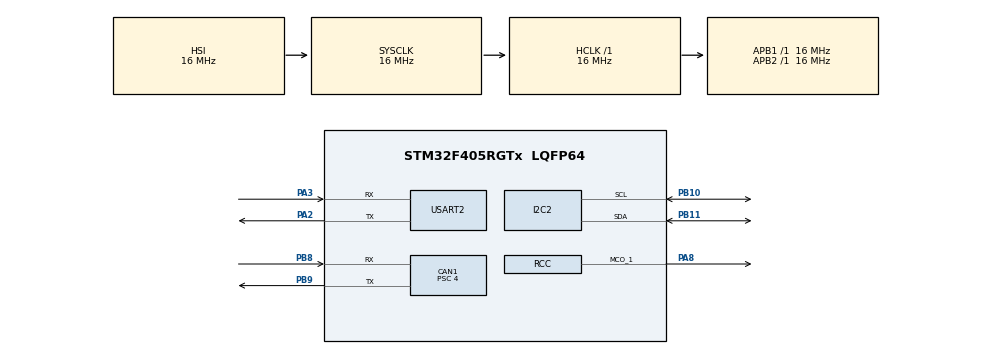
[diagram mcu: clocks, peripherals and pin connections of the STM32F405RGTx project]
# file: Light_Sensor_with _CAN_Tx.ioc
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CAN1.BS1=CAN_BS1_12TQ
CAN1.BS2=CAN_BS2_3TQ
CAN1.CalculateBaudRate=250000
CAN1.CalculateTimeBit=4000
CAN1.CalculateTimeQuantum=250.0
CAN1.NART=ENABLE
CAN1.Prescaler=4
Mcu.Family=STM32F4
Mcu.Name=STM32F405RGTx
Mcu.Package=LQFP64
NVIC.CAN1_RX0_IRQn=true\:0\:0\:false\:false\:true\:true\:true\:true
NVIC.PriorityGroup=NVIC_PRIORITYGROUP_4
PA13.Mode=Serial_Wire
PA13.Signal=SYS_JTMS-SWDIO
PA14.Mode=Serial_Wire
PA14.Signal=SYS_JTCK-SWCLK
PA2.Mode=Asynchronous
PA2.Signal=USART2_TX
PA3.Mode=Asynchronous
PA3.Signal=USART2_RX
PA8.Mode=Clock-out-1
PA8.Signal=RCC_MCO_1
PB10.Mode=I2C
PB10.Signal=I2C2_SCL
PB11.Mode=I2C
PB11.Signal=I2C2_SDA
PB8.Mode=CAN_Activate
PB8.Signal=CAN1_RX
PB9.Mode=CAN_Activate
PB9.Signal=CAN1_TX
PH0-OSC_IN.Mode=HSE-External-Oscillator
PH0-OSC_IN.Signal=RCC_OSC_IN
PH1-OSC_OUT.Mode=HSE-External-Oscillator
PH1-OSC_OUT.Signal=RCC_OSC_OUT
ProjectManager.HeapSize=0x200
ProjectManager.StackSize=0x400
ProjectManager.TargetToolchain=STM32CubeIDE
RCC.AHBFreq_Value=16000000
RCC.APB1Freq_Value=16000000
RCC.APB2Freq_Value=16000000
RCC.CortexFreq_Value=16000000
RCC.HSE_VALUE=25000000
RCC.HSI_VALUE=16000000
RCC.LSE_VALUE=32768
RCC.SYSCLKFreq_VALUE=16000000
RCC.VCOOutputFreq_Value=192000000
USART2.VirtualMode=VM_ASYNC
board=custom

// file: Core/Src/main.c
/* USER CODE BEGIN Header */
/**
  ******************************************************************************
  * @file           : main.c
  * @brief          : Main program body
  ******************************************************************************
  * @attention
  *
  * Copyright (c) 2026 STMicroelectronics.
  * All rights reserved.
  *
  * This software is licensed under terms that can be found in the LICENSE file
  * in the root directory of this software component.
  * If no LICENSE file comes with this software, it is provided AS-IS.
  *
  ******************************************************************************
  */
/* USER CODE END Header */
#include "main.h"

/* USER CODE BEGIN Includes */
#include<string.h>
#include<stdio.h>
/* USER CODE END Includes */

/* USER CODE BEGIN PD */
#define SLAVE_ADDR (0x23<<1)
CAN_TxHeaderTypeDef TxHeader;
CAN_RxHeaderTypeDef RxHeader;
uint8_t TxData[8];
uint8_t RxData[8];
uint32_t TxMailbox;
/* USER CODE END PD */

CAN_HandleTypeDef hcan1;

I2C_HandleTypeDef hi2c2;

UART_HandleTypeDef huart2;

void SystemClock_Config(void);
static void MX_GPIO_Init(void);
static void MX_CAN1_Init(void);
static void MX_I2C2_Init(void);
static void MX_USART2_UART_Init(void);
/* USER CODE BEGIN PFP */
void Light_sensor_init(void);
void CAN_Send_Message(uint32_t canId, uint8_t *data, uint8_t length);
void CAN_MSG_Transmit(void);
/* USER CODE END PFP */

/* USER CODE BEGIN 0 */
uint8_t rx[2],cmd;
uint16_t raw;
float lux;
uint8_t data[2]={1,0};
/* USER CODE END 0 */

int main(void)
{

  /* MCU Configuration--------------------------------------------------------*/

  /* Reset of all peripherals, Initializes the Flash interface and the Systick. */
  HAL_Init();

  /* Configure the system clock */
  SystemClock_Config();

  /* Initialize all configured peripherals */
  MX_GPIO_Init();
  MX_CAN1_Init();
  MX_I2C2_Init();
  MX_USART2_UART_Init();
  /* USER CODE BEGIN 2 */
  Light_sensor_init();
  HAL_CAN_Start(&hcan1);
  HAL_CAN_ActivateNotification(&hcan1,CAN_IT_RX_FIFO0_MSG_PENDING);
  /* USER CODE END 2 */

  /* Infinite loop */
  while (1)
  {
	  HAL_I2C_Master_Receive(&hi2c2, SLAVE_ADDR, rx, 2, HAL_MAX_DELAY);
	  raw= (rx[0]<<8)|rx[1];
	  lux=raw/1.2f;

	  CAN_MSG_Transmit();
	  HAL_Delay(3000);
  }
}

void SystemClock_Config(void)
{
  RCC_OscInitTypeDef RCC_OscInitStruct = {0};
  RCC_ClkInitTypeDef RCC_ClkInitStruct = {0};

  /** Configure the main internal regulator output voltage
  */
  __HAL_RCC_PWR_CLK_ENABLE();
  __HAL_PWR_VOLTAGESCALING_CONFIG(PWR_REGULATOR_VOLTAGE_SCALE1);

  /** Initializes the RCC Oscillators according to the specified parameters
  * in the RCC_OscInitTypeDef structure.
  */
  RCC_OscInitStruct.OscillatorType = RCC_OSCILLATORTYPE_HSI;
  RCC_OscInitStruct.HSIState = RCC_HSI_ON;
  RCC_OscInitStruct.HSICalibrationValue = RCC_HSICALIBRATION_DEFAULT;
  RCC_OscInitStruct.PLL.PLLState = RCC_PLL_NONE;
  if (HAL_RCC_OscConfig(&RCC_OscInitStruct) != HAL_OK)
  {
    Error_Handler();
  }

  /** Initializes the CPU, AHB and APB buses clocks
  */
  RCC_ClkInitStruct.ClockType = RCC_CLOCKTYPE_HCLK|RCC_CLOCKTYPE_SYSCLK
                              |RCC_CLOCKTYPE_PCLK1|RCC_CLOCKTYPE_PCLK2;
  RCC_ClkInitStruct.SYSCLKSource = RCC_SYSCLKSOURCE_HSI;
  RCC_ClkInitStruct.AHBCLKDivider = RCC_SYSCLK_DIV1;
  RCC_ClkInitStruct.APB1CLKDivider = RCC_HCLK_DIV1;
  RCC_ClkInitStruct.APB2CLKDivider = RCC_HCLK_DIV1;

  if (HAL_RCC_ClockConfig(&RCC_ClkInitStruct, FLASH_LATENCY_0) != HAL_OK)
  {
    Error_Handler();
  }
  HAL_RCC_MCOConfig(RCC_MCO1, RCC_MCO1SOURCE_HSI, RCC_MCODIV_1);
}

static void MX_CAN1_Init(void)
{

  hcan1.Instance = CAN1;
  hcan1.Init.Prescaler = 4;
  hcan1.Init.Mode = CAN_MODE_NORMAL;
  hcan1.Init.SyncJumpWidth = CAN_SJW_1TQ;
  hcan1.Init.TimeSeg1 = CAN_BS1_12TQ;
  hcan1.Init.TimeSeg2 = CAN_BS2_3TQ;
  hcan1.Init.TimeTriggeredMode = DISABLE;
  hcan1.Init.AutoBusOff = DISABLE;
  hcan1.Init.AutoWakeUp = DISABLE;
  hcan1.Init.AutoRetransmission = ENABLE;
  hcan1.Init.ReceiveFifoLocked = DISABLE;
  hcan1.Init.TransmitFifoPriority = DISABLE;
  if (HAL_CAN_Init(&hcan1) != HAL_OK)
  {
    Error_Handler();
  }
  /* USER CODE BEGIN CAN1_Init 2 */
  CAN_FilterTypeDef canfilterconfig;

      canfilterconfig.FilterActivation = CAN_FILTER_ENABLE;
      canfilterconfig.FilterBank = 0;
      canfilterconfig.FilterFIFOAssignment = CAN_FILTER_FIFO0;
      canfilterconfig.FilterIdHigh = 0x0000;
      canfilterconfig.FilterIdLow = 0x0000;
      canfilterconfig.FilterMaskIdHigh = 0x0000;
      canfilterconfig.FilterMaskIdLow = 0x0000;
      canfilterconfig.FilterMode = CAN_FILTERMODE_IDMASK;
      canfilterconfig.FilterScale = CAN_FILTERSCALE_32BIT;
      canfilterconfig.SlaveStartFilterBank = 0;

      if (HAL_CAN_ConfigFilter(&hcan1, &canfilterconfig) != HAL_OK)
       {
         Error_Handler();
       }
  /* USER CODE END CAN1_Init 2 */

}

static void MX_I2C2_Init(void)
{

  hi2c2.Instance = I2C2;
  hi2c2.Init.ClockSpeed = 100000;
  hi2c2.Init.DutyCycle = I2C_DUTYCYCLE_2;
  hi2c2.Init.OwnAddress1 = 0;
  hi2c2.Init.AddressingMode = I2C_ADDRESSINGMODE_7BIT;
  hi2c2.Init.DualAddressMode = I2C_DUALADDRESS_DISABLE;
  hi2c2.Init.OwnAddress2 = 0;
  hi2c2.Init.GeneralCallMode = I2C_GENERALCALL_DISABLE;
  hi2c2.Init.NoStretchMode = I2C_NOSTRETCH_DISABLE;
  if (HAL_I2C_Init(&hi2c2) != HAL_OK)
  {
    Error_Handler();
  }

}

static void MX_USART2_UART_Init(void)
{

  huart2.Instance = USART2;
  huart2.Init.BaudRate = 115200;
  huart2.Init.WordLength = UART_WORDLENGTH_8B;
  huart2.Init.StopBits = UART_STOPBITS_1;
  huart2.Init.Parity = UART_PARITY_NONE;
  huart2.Init.Mode = UART_MODE_TX_RX;
  huart2.Init.HwFlowCtl = UART_HWCONTROL_NONE;
  huart2.Init.OverSampling = UART_OVERSAMPLING_16;
  if (HAL_UART_Init(&huart2) != HAL_OK)
  {
    Error_Handler();
  }

}

static void MX_GPIO_Init(void)
{
  GPIO_InitTypeDef GPIO_InitStruct = {0};

  /* GPIO Ports Clock Enable */
  __HAL_RCC_GPIOH_CLK_ENABLE();
  __HAL_RCC_GPIOA_CLK_ENABLE();
  __HAL_RCC_GPIOB_CLK_ENABLE();

  /*Configure GPIO pin : PA8 */
  GPIO_InitStruct.Pin = GPIO_PIN_8;
  GPIO_InitStruct.Mode = GPIO_MODE_AF_PP;
  GPIO_InitStruct.Pull = GPIO_NOPULL;
  GPIO_InitStruct.Speed = GPIO_SPEED_FREQ_LOW;
  GPIO_InitStruct.Alternate = GPIO_AF0_MCO;
  HAL_GPIO_Init(GPIOA, &GPIO_InitStruct);

  /* USER CODE BEGIN MX_GPIO_Init_2 */
    GPIO_InitStruct.Pin = GPIO_PIN_10 | GPIO_PIN_11;
    GPIO_InitStruct.Mode = GPIO_MODE_AF_OD;          // Open-drain
    GPIO_InitStruct.Pull = GPIO_PULLUP;              // VERY IMPORTANT
    GPIO_InitStruct.Speed = GPIO_SPEED_FREQ_VERY_HIGH;
    GPIO_InitStruct.Alternate = GPIO_AF4_I2C2;
    HAL_GPIO_Init(GPIOB, &GPIO_InitStruct);
  /* USER CODE END MX_GPIO_Init_2 */
}

/* USER CODE BEGIN 4 */
void Light_sensor_init(void)
{
	cmd=0x01; //Power On
    HAL_I2C_Master_Transmit(&hi2c2, SLAVE_ADDR, &cmd, 1, HAL_MAX_DELAY);
    HAL_Delay(50);

    cmd=0x10;
    HAL_I2C_Master_Transmit(&hi2c2, SLAVE_ADDR, &cmd, 1, HAL_MAX_DELAY);
    HAL_Delay(180);  //continuous mode 120ms
}

void HAL_CAN_RxFifo0MsgPendingCallback(CAN_HandleTypeDef *hcan1)
{
	if (HAL_CAN_GetRxMessage(hcan1, CAN_RX_FIFO0, &RxHeader, RxData) != HAL_OK)
	{
		Error_Handler();
	}
}
void CAN_MSG_Transmit(void)
{
    if (lux <= 30)
        CAN_Send_Message(0x323, &data[0], 1);
    else
        CAN_Send_Message(0x323, &data[1], 1);
}

void CAN_Send_Message(uint32_t canId,uint8_t *data, uint8_t length)
{
	TxHeader.DLC = length;
	TxHeader.ExtId = 0;                   // Not using extended ID
	TxHeader.IDE = CAN_ID_STD;
	TxHeader.StdId = canId;
	TxHeader.RTR = CAN_RTR_DATA;
	TxHeader.TransmitGlobalTime = DISABLE;

	while (HAL_CAN_GetTxMailboxesFreeLevel(&hcan1) == 0);
	HAL_CAN_AddTxMessage(&hcan1, &TxHeader, data, &TxMailbox);
}
/* USER CODE END 4 */

void Error_Handler(void)
{
  __disable_irq();
  while (1)
  {
  }
}
